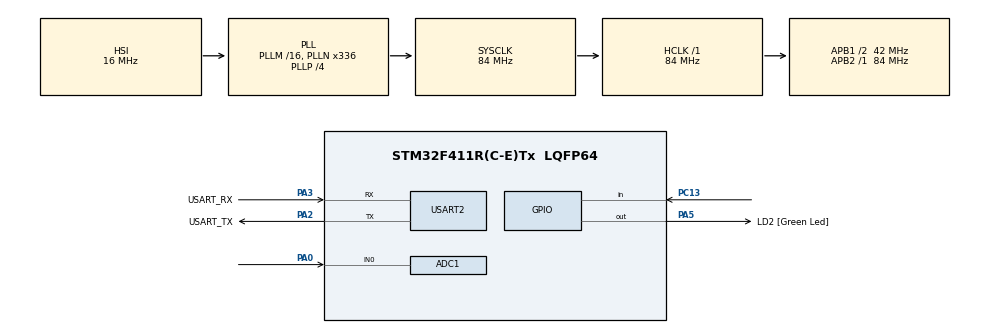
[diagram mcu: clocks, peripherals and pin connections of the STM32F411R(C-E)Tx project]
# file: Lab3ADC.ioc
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ADC1.Channel-1\#ChannelRegularConversion=ADC_CHANNEL_0
ADC1.NbrOfConversionFlag=1
ADC1.Rank-1\#ChannelRegularConversion=1
ADC1.SamplingTime-1\#ChannelRegularConversion=ADC_SAMPLETIME_3CYCLES
ADC1.master=1
Mcu.Family=STM32F4
Mcu.Name=STM32F411R(C-E)Tx
Mcu.Package=LQFP64
NVIC.PriorityGroup=NVIC_PRIORITYGROUP_0
PA0-WKUP.Signal=ADCx_IN0
PA13.GPIO_Label=TMS
PA13.Mode=Serial_Wire
PA13.Signal=SYS_JTMS-SWDIO
PA14.GPIO_Label=TCK
PA14.Mode=Serial_Wire
PA14.Signal=SYS_JTCK-SWCLK
PA2.GPIO_Label=USART_TX
PA2.Mode=Asynchronous
PA2.Signal=USART2_TX
PA3.GPIO_Label=USART_RX
PA3.Mode=Asynchronous
PA3.Signal=USART2_RX
PA5.GPIO_Label=LD2 [Green Led]
PA5.Signal=GPIO_Output
PB3.GPIO_Label=SWO
PB3.Signal=SYS_JTDO-SWO
PC13-ANTI_TAMP.Signal=GPIO_Input
PC14-OSC32_IN.Mode=LSE-External-Oscillator
PC14-OSC32_IN.Signal=RCC_OSC32_IN
PC15-OSC32_OUT.Mode=LSE-External-Oscillator
PC15-OSC32_OUT.Signal=RCC_OSC32_OUT
PH0\ -\ OSC_IN.Mode=HSE-External-Clock-Source
PH0\ -\ OSC_IN.Signal=RCC_OSC_IN
PH1\ -\ OSC_OUT.Mode=HSE-External-Clock-Source
PH1\ -\ OSC_OUT.Signal=RCC_OSC_OUT
ProjectManager.HeapSize=0x200
ProjectManager.StackSize=0x400
ProjectManager.TargetToolchain=STM32CubeIDE
RCC.48MHZClocksFreq_Value=84000000
RCC.AHBFreq_Value=84000000
RCC.APB1CLKDivider=RCC_HCLK_DIV2
RCC.APB1Freq_Value=42000000
RCC.APB1TimFreq_Value=84000000
RCC.APB2Freq_Value=84000000
RCC.APB2TimFreq_Value=84000000
RCC.CortexFreq_Value=84000000
RCC.FLatency-AdvancedSettings=FLASH_LATENCY_2
RCC.HCLKFreq_Value=84000000
RCC.HSE_VALUE=8000000
RCC.HSI_VALUE=16000000
RCC.PLLN=336
RCC.PLLP=RCC_PLLP_DIV4
RCC.SYSCLKFreq_VALUE=84000000
RCC.SYSCLKSource=RCC_SYSCLKSOURCE_PLLCLK
RCC.VCOOutputFreq_Value=336000000
SH.ADCx_IN0.0=ADC1_IN0,IN0
USART2.VirtualMode=VM_ASYNC
VP_ADC1_TempSens_Input.Mode=IN-TempSens
board=NUCLEO-F411RE

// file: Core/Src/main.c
/* USER CODE BEGIN Header */
/**
  ******************************************************************************
  * @file           : main.c
  * @brief          : Main program body
  ******************************************************************************
  * @attention
  *
  * <h2><center>&copy; Copyright (c) 2021 STMicroelectronics.
  * All rights reserved.</center></h2>
  *
  * This software component is licensed by ST under BSD 3-Clause license,
  * the "License"; You may not use this file except in compliance with the
  * License. You may obtain a copy of the License at:
  *                        opensource.org/licenses/BSD-3-Clause
  *
  ******************************************************************************
  */
/* USER CODE END Header */
#include "main.h"

ADC_HandleTypeDef hadc1;

UART_HandleTypeDef huart2;

/* USER CODE BEGIN PV */
GPIO_PinState SW_B1[2];
uint32_t ButtonTimeStamp = 0;		//Time stamp

uint8_t ADCMode = 0;				//Mode
float ADCOutputConverted = 0;	//data

typedef struct
{
	ADC_ChannelConfTypeDef Config;
	uint32_t data;
} ADCStructure;

ADCStructure ADCChannel[2] = {0};

/* USER CODE END PV */

void SystemClock_Config(void);
static void MX_GPIO_Init(void);
static void MX_USART2_UART_Init(void);
static void MX_ADC1_Init(void);
/* USER CODE BEGIN PFP */
void ADCPollingMethodInit(); //Init config of 2 ADC
void ADCPollingMethodUpdate(); //Read ADC from 2 source(IN0,Temp)
/* USER CODE END PFP */

int main(void)
{

  /* MCU Configuration--------------------------------------------------------*/

  /* Reset of all peripherals, Initializes the Flash interface and the Systick. */
  HAL_Init();

  /* Configure the system clock */
  SystemClock_Config();

  /* Initialize all configured peripherals */
  MX_GPIO_Init();
  MX_USART2_UART_Init();
  MX_ADC1_Init();
  /* USER CODE BEGIN 2 */
  ADCPollingMethodInit();

  /* USER CODE END 2 */

  /* Infinite loop */
  while (1)
  {

    /* USER CODE BEGIN 3 */

	  //B1 press
	  if (HAL_GetTick() - ButtonTimeStamp >= 100)
	     {
	  		ButtonTimeStamp = HAL_GetTick();

	  		SW_B1[1] = HAL_GPIO_ReadPin(GPIOC, GPIO_PIN_13);	//Read state of B1 (PC13)
	  		if ((SW_B1[1] == GPIO_PIN_RESET) && (SW_B1[0] == GPIO_PIN_SET))
	  		{
	  			//swap mode 0 and 1
	  			if (ADCMode == 0)
	  			{
	  				ADCMode = 1;
	  			}
	  			else
	  			{
	  				ADCMode = 0;
	  			}
	  		}
	  		SW_B1[0] = SW_B1[1];
	     }
	  ADCPollingMethodUpdate();

	 //ADCMode
	 if (ADCMode == 0)
	 {
		 //ADCOutputConverted = volt value from PA0 in mV
		 ADCOutputConverted = (3300.0*ADCChannel[0].data)/4096.0;
	 }
	 else
	 {
		 //ADCOutputConverted = temp value from temp-sensor in Celsius Degrees
		 ADCOutputConverted = ((((3300.0*ADCChannel[1].data)/4096.0) - 760.0)/2.5) + 25.0;
	 }
  }
  /* USER CODE END 3 */
}

void SystemClock_Config(void)
{
  RCC_OscInitTypeDef RCC_OscInitStruct = {0};
  RCC_ClkInitTypeDef RCC_ClkInitStruct = {0};

  /** Configure the main internal regulator output voltage
  */
  __HAL_RCC_PWR_CLK_ENABLE();
  __HAL_PWR_VOLTAGESCALING_CONFIG(PWR_REGULATOR_VOLTAGE_SCALE1);
  /** Initializes the RCC Oscillators according to the specified parameters
  * in the RCC_OscInitTypeDef structure.
  */
  RCC_OscInitStruct.OscillatorType = RCC_OSCILLATORTYPE_HSI;
  RCC_OscInitStruct.HSIState = RCC_HSI_ON;
  RCC_OscInitStruct.HSICalibrationValue = RCC_HSICALIBRATION_DEFAULT;
  RCC_OscInitStruct.PLL.PLLState = RCC_PLL_ON;
  RCC_OscInitStruct.PLL.PLLSource = RCC_PLLSOURCE_HSI;
  RCC_OscInitStruct.PLL.PLLM = 16;
  RCC_OscInitStruct.PLL.PLLN = 336;
  RCC_OscInitStruct.PLL.PLLP = RCC_PLLP_DIV4;
  RCC_OscInitStruct.PLL.PLLQ = 4;
  if (HAL_RCC_OscConfig(&RCC_OscInitStruct) != HAL_OK)
  {
    Error_Handler();
  }
  /** Initializes the CPU, AHB and APB buses clocks
  */
  RCC_ClkInitStruct.ClockType = RCC_CLOCKTYPE_HCLK|RCC_CLOCKTYPE_SYSCLK
                              |RCC_CLOCKTYPE_PCLK1|RCC_CLOCKTYPE_PCLK2;
  RCC_ClkInitStruct.SYSCLKSource = RCC_SYSCLKSOURCE_PLLCLK;
  RCC_ClkInitStruct.AHBCLKDivider = RCC_SYSCLK_DIV1;
  RCC_ClkInitStruct.APB1CLKDivider = RCC_HCLK_DIV2;
  RCC_ClkInitStruct.APB2CLKDivider = RCC_HCLK_DIV1;

  if (HAL_RCC_ClockConfig(&RCC_ClkInitStruct, FLASH_LATENCY_2) != HAL_OK)
  {
    Error_Handler();
  }
}

static void MX_ADC1_Init(void)
{

  ADC_ChannelConfTypeDef sConfig = {0};

  /** Configure the global features of the ADC (Clock, Resolution, Data Alignment and number of conversion)
  */
  hadc1.Instance = ADC1;
  hadc1.Init.ClockPrescaler = ADC_CLOCK_SYNC_PCLK_DIV4;
  hadc1.Init.Resolution = ADC_RESOLUTION_12B;
  hadc1.Init.ScanConvMode = DISABLE;
  hadc1.Init.ContinuousConvMode = DISABLE;
  hadc1.Init.DiscontinuousConvMode = DISABLE;
  hadc1.Init.ExternalTrigConvEdge = ADC_EXTERNALTRIGCONVEDGE_NONE;
  hadc1.Init.ExternalTrigConv = ADC_SOFTWARE_START;
  hadc1.Init.DataAlign = ADC_DATAALIGN_RIGHT;
  hadc1.Init.NbrOfConversion = 1;
  hadc1.Init.DMAContinuousRequests = DISABLE;
  hadc1.Init.EOCSelection = ADC_EOC_SINGLE_CONV;
  if (HAL_ADC_Init(&hadc1) != HAL_OK)
  {
    Error_Handler();
  }
  /** Configure for the selected ADC regular channel its corresponding rank in the sequencer and its sample time.
  */
  sConfig.Channel = ADC_CHANNEL_0;
  sConfig.Rank = 1;
  sConfig.SamplingTime = ADC_SAMPLETIME_3CYCLES;
  if (HAL_ADC_ConfigChannel(&hadc1, &sConfig) != HAL_OK)
  {
    Error_Handler();
  }

}

static void MX_USART2_UART_Init(void)
{

  huart2.Instance = USART2;
  huart2.Init.BaudRate = 115200;
  huart2.Init.WordLength = UART_WORDLENGTH_8B;
  huart2.Init.StopBits = UART_STOPBITS_1;
  huart2.Init.Parity = UART_PARITY_NONE;
  huart2.Init.Mode = UART_MODE_TX_RX;
  huart2.Init.HwFlowCtl = UART_HWCONTROL_NONE;
  huart2.Init.OverSampling = UART_OVERSAMPLING_16;
  if (HAL_UART_Init(&huart2) != HAL_OK)
  {
    Error_Handler();
  }

}

static void MX_GPIO_Init(void)
{
  GPIO_InitTypeDef GPIO_InitStruct = {0};

  /* GPIO Ports Clock Enable */
  __HAL_RCC_GPIOC_CLK_ENABLE();
  __HAL_RCC_GPIOH_CLK_ENABLE();
  __HAL_RCC_GPIOA_CLK_ENABLE();
  __HAL_RCC_GPIOB_CLK_ENABLE();

  /*Configure GPIO pin Output Level */
  HAL_GPIO_WritePin(LD2_GPIO_Port, LD2_Pin, GPIO_PIN_RESET);

  /*Configure GPIO pin : PC13 */
  GPIO_InitStruct.Pin = GPIO_PIN_13;
  GPIO_InitStruct.Mode = GPIO_MODE_INPUT;
  GPIO_InitStruct.Pull = GPIO_NOPULL;
  HAL_GPIO_Init(GPIOC, &GPIO_InitStruct);

  /*Configure GPIO pin : LD2_Pin */
  GPIO_InitStruct.Pin = LD2_Pin;
  GPIO_InitStruct.Mode = GPIO_MODE_OUTPUT_PP;
  GPIO_InitStruct.Pull = GPIO_NOPULL;
  GPIO_InitStruct.Speed = GPIO_SPEED_FREQ_LOW;
  HAL_GPIO_Init(LD2_GPIO_Port, &GPIO_InitStruct);

}

/* USER CODE BEGIN 4 */
void ADCPollingMethodInit()
{
	//IN0
	ADCChannel[0].Config.Channel = ADC_CHANNEL_0;
	ADCChannel[0].Config.Rank = 1;
	ADCChannel[0].Config.SamplingTime = ADC_SAMPLETIME_3CYCLES;

	//Temp
	ADCChannel[1].Config.Channel = ADC_CHANNEL_TEMPSENSOR;
	ADCChannel[1].Config.Rank = 1;
	ADCChannel[1].Config.SamplingTime = ADC_SAMPLETIME_3CYCLES;
}

void ADCPollingMethodUpdate()
{
	for (int i=0 ;i<2 ;i++)
	{
		//select channel
		HAL_ADC_ConfigChannel(&hadc1, &ADCChannel[i].Config);
		//ADC sampling, convert
		HAL_ADC_Start(&hadc1);
		//wait ADC
		if (HAL_ADC_PollForConversion(&hadc1, 10) == HAL_OK)
		{
		//Get value
			ADCChannel[i].data = HAL_ADC_GetValue(&hadc1);
		}

		//stop
		HAL_ADC_Stop(&hadc1);
	}
}
/* USER CODE END 4 */

void Error_Handler(void)
{
  __disable_irq();
  while (1)
  {
  }
}

/************************ (C) COPYRIGHT STMicroelectronics *****END OF FILE****/
